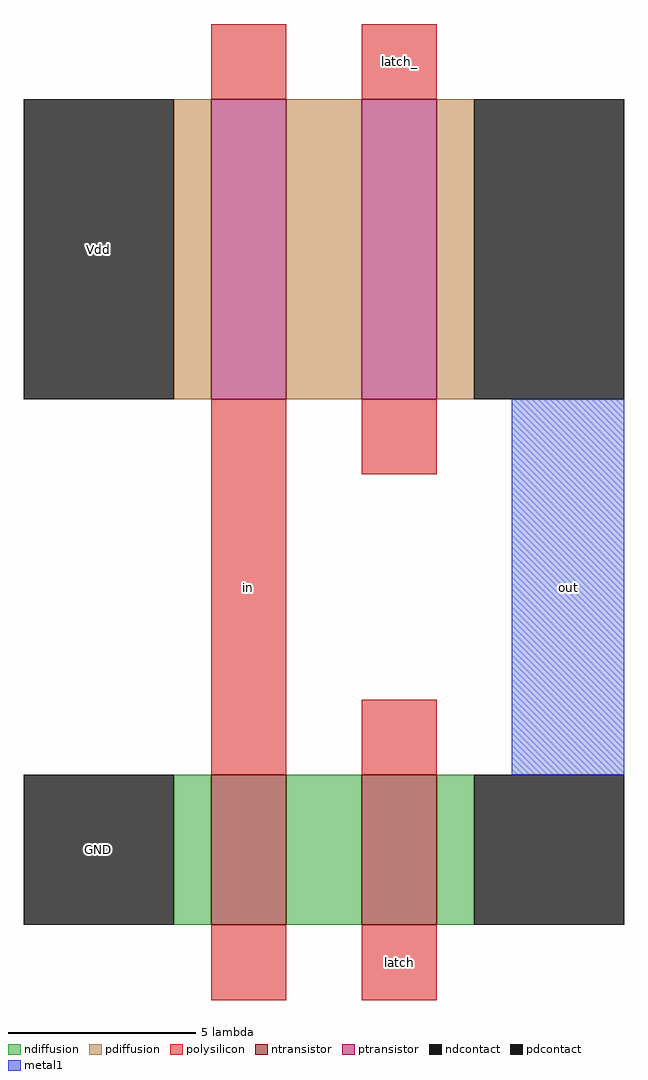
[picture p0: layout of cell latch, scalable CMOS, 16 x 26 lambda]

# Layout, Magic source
magic
tech scmos
<< polysilicon >>
rect -1 22 1 24
rect 3 22 5 24
rect -1 4 1 14
rect 3 12 5 14
rect 3 4 5 6
rect -1 -2 1 0
rect 3 -2 5 0
<< ndiffusion >>
rect -2 0 -1 4
rect 1 0 3 4
rect 5 0 6 4
<< pdiffusion >>
rect -2 14 -1 22
rect 1 14 3 22
rect 5 14 6 22
<< metal1 >>
rect 7 4 10 14
<< ntransistor >>
rect -1 0 1 4
rect 3 0 5 4
<< ptransistor >>
rect -1 14 1 22
rect 3 14 5 22
<< ndcontact >>
rect -6 0 -2 4
rect 6 0 10 4
<< pdcontact >>
rect -6 14 -2 22
rect 6 14 10 22
<< labels >>
rlabel polysilicon 3 22 5 24 5 latch_
rlabel polysilicon 3 -2 5 0 1 latch
rlabel pdcontact -6 14 -2 22 3 Vdd
rlabel ndcontact -6 0 -2 4 2 GND
rlabel polysilicon -1 8 1 10 1 in
rlabel metal1 7 8 10 10 7 out
<< end >>
